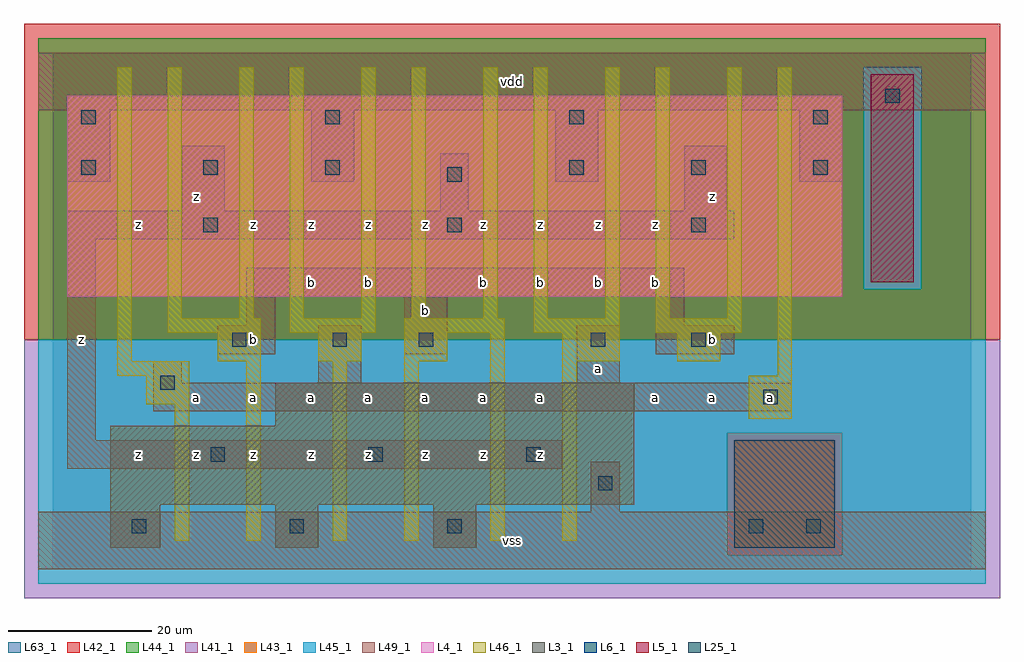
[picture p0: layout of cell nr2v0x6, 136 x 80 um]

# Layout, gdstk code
import gdstk
lib = gdstk.Library(unit=1e-6, precision=1e-09)
def R(c, l, rs):  # rectangles x0, y0, x1, y1
    for r in rs: c.add(gdstk.rectangle(r[:2], r[2:], *l))
def A(c, l, x, y, w, h, nx, ny, dx, dy):  # array of equal rectangles
    R(c, l, [(x+i*dx, y+j*dy, x+i*dx+w, y+j*dy+h) for i in range(nx) for j in range(ny)])
L3_1 = (3, 1)
L4_1 = (4, 1)
L5_1 = (5, 1)
L6_1 = (6, 1)
L25_1 = (25, 1)
L41_1 = (41, 1)
L42_1 = (42, 1)
L43_1 = (43, 1)
L44_1 = (44, 1)
L45_1 = (45, 1)
L46_1 = (46, 1)
L49_1 = (49, 1)
L63_1 = (63, 1)

nr2v0x6 = lib.new_cell('nr2v0x6')
R(nr2v0x6, L3_1, [(8,3,15,9), (31,3,37,9), (53,3,59,9), (8,9,81,20), (31,20,81,26)])
R(nr2v0x6, L4_1, [(2,38,110,66)])
R(nr2v0x6, L5_1, [(114,40,120,69)])
R(nr2v0x6, L6_1, [(95,3,109,18), (95,3,109,18)])
A(nr2v0x6, L25_1, 11, 5, 2, 2, 3, 1, 22, 0)
A(nr2v0x6, L25_1, 22, 15, 2, 2, 3, 1, 22, 0)
A(nr2v0x6, L25_1, 21, 47, 2, 2, 3, 1, 34, 0)
A(nr2v0x6, L25_1, 4, 55, 2, 2, 3, 1, 17, 0)
A(nr2v0x6, L25_1, 72, 55, 2, 2, 3, 1, 17, 0)
A(nr2v0x6, L25_1, 4, 62, 2, 2, 4, 1, 34, 0)
R(nr2v0x6, L25_1, [(97,5,99,7), (105,5,107,7), (76,11,78,13), (99,23,101,25), (15,25,17,27), (25,31,27,33), (39,31,41,33), (51,31,53,33), (75,31,77,33), (89,31,91,33), (55,54,57,56), (116,65,118,67)])
R(nr2v0x6, L41_1, [(-4,-4,132,32)])
R(nr2v0x6, L42_1, [(-4,32,132,76)])
R(nr2v0x6, L43_1, [(8,3,15,9), (31,3,37,9), (53,3,59,9), (95,3,109,18), (8,9,81,20), (31,20,81,26), (2,38,110,66), (114,40,120,69)])
R(nr2v0x6, L44_1, [(94,2,110,19), (-2,32,130,39), (-2,39,113,70), (121,39,130,70), (-2,70,130,74)])
R(nr2v0x6, L45_1, [(-2,-2,130,2), (-2,2,94,19), (110,2,130,19), (-2,19,130,32), (113,39,121,70)])
R(nr2v0x6, L46_1, [(17,4,19,23), (27,4,29,29), (39,4,41,29), (49,4,51,29), (61,4,63,33), (71,4,73,29), (97,21,103,27), (13,23,19,27), (9,27,19,29), (101,27,103,70), (9,29,11,70), (23,29,29,33), (37,29,43,33), (49,29,55,33), (71,29,79,33), (87,29,93,33), (16,33,29,35), (33,33,45,35), (49,33,63,35), (67,33,79,35), (84,33,96,35), (16,35,18,70), (26,35,28,70), (33,35,35,70), (43,35,45,70), (50,35,52,70), (60,35,62,70), (67,35,69,70), (77,35,79,70), (84,35,86,70), (94,35,96,70)])
A(nr2v0x6, L49_1, 2, 54, 6, 10, 4, 1, 34, 0)
R(nr2v0x6, L49_1, [(-2,0,130,8), (75,8,79,15), (2,14,71,18), (2,18,6,46), (14,22,103,26), (14,26,18,29), (37,26,43,34), (73,26,79,34), (23,30,31,34), (49,30,55,38), (84,30,95,34), (27,34,31,38), (84,34,88,38), (27,38,88,42), (2,46,95,50), (18,50,24,59), (54,50,58,58), (88,50,94,59), (-2,64,130,72)])
R(nr2v0x6, L63_1, [(0,0,128,72)])
nr2v0x6.add(gdstk.Label('z', (12,16), layer=49, texttype=1))
nr2v0x6.add(gdstk.Label('z', (20,16), layer=49, texttype=1))
nr2v0x6.add(gdstk.Label('a', (20,24), layer=49, texttype=1))
nr2v0x6.add(gdstk.Label('z', (4,32), layer=49, texttype=1))
nr2v0x6.add(gdstk.Label('z', (20,52), layer=49, texttype=1))
nr2v0x6.add(gdstk.Label('z', (12,48), layer=49, texttype=1))
nr2v0x6.add(gdstk.Label('z', (28,16), layer=49, texttype=1))
nr2v0x6.add(gdstk.Label('z', (36,16), layer=49, texttype=1))
nr2v0x6.add(gdstk.Label('z', (44,16), layer=49, texttype=1))
nr2v0x6.add(gdstk.Label('a', (28,24), layer=49, texttype=1))
nr2v0x6.add(gdstk.Label('a', (36,24), layer=49, texttype=1))
nr2v0x6.add(gdstk.Label('a', (44,24), layer=49, texttype=1))
nr2v0x6.add(gdstk.Label('b', (28,32), layer=49, texttype=1))
nr2v0x6.add(gdstk.Label('b', (36,40), layer=49, texttype=1))
nr2v0x6.add(gdstk.Label('b', (44,40), layer=49, texttype=1))
nr2v0x6.add(gdstk.Label('z', (28,48), layer=49, texttype=1))
nr2v0x6.add(gdstk.Label('z', (36,48), layer=49, texttype=1))
nr2v0x6.add(gdstk.Label('z', (44,48), layer=49, texttype=1))
nr2v0x6.add(gdstk.Label('vss', (64,4), layer=49, texttype=1))
nr2v0x6.add(gdstk.Label('z', (60,16), layer=49, texttype=1))
nr2v0x6.add(gdstk.Label('z', (68,16), layer=49, texttype=1))
nr2v0x6.add(gdstk.Label('z', (52,16), layer=49, texttype=1))
nr2v0x6.add(gdstk.Label('a', (52,24), layer=49, texttype=1))
nr2v0x6.add(gdstk.Label('a', (60,24), layer=49, texttype=1))
nr2v0x6.add(gdstk.Label('a', (68,24), layer=49, texttype=1))
nr2v0x6.add(gdstk.Label('b', (52,36), layer=49, texttype=1))
nr2v0x6.add(gdstk.Label('b', (60,40), layer=49, texttype=1))
nr2v0x6.add(gdstk.Label('b', (68,40), layer=49, texttype=1))
nr2v0x6.add(gdstk.Label('z', (52,48), layer=49, texttype=1))
nr2v0x6.add(gdstk.Label('z', (60,48), layer=49, texttype=1))
nr2v0x6.add(gdstk.Label('z', (68,48), layer=49, texttype=1))
nr2v0x6.add(gdstk.Label('vdd', (64,68), layer=49, texttype=1))
nr2v0x6.add(gdstk.Label('a', (100,24), layer=49, texttype=1))
nr2v0x6.add(gdstk.Label('a', (84,24), layer=49, texttype=1))
nr2v0x6.add(gdstk.Label('a', (92,24), layer=49, texttype=1))
nr2v0x6.add(gdstk.Label('b', (92,32), layer=49, texttype=1))
nr2v0x6.add(gdstk.Label('a', (76,28), layer=49, texttype=1))
nr2v0x6.add(gdstk.Label('b', (76,40), layer=49, texttype=1))
nr2v0x6.add(gdstk.Label('b', (84,40), layer=49, texttype=1))
nr2v0x6.add(gdstk.Label('z', (76,48), layer=49, texttype=1))
nr2v0x6.add(gdstk.Label('z', (92,52), layer=49, texttype=1))
nr2v0x6.add(gdstk.Label('z', (84,48), layer=49, texttype=1))

lib.write_gds('nr2v0x6.gds')
